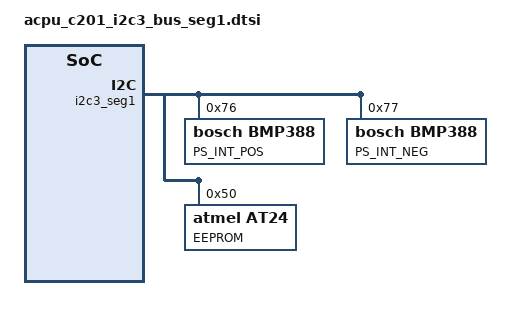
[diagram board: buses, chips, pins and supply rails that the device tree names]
/*
 * Copyright (c) 2021 Acme CPU
 *
 */

&i2c3_seg1 {

  p121_ps: bmp388@76 {
    compatible = "bosch,bmp388";
    reg = <0x76>;
    label = "PS_INT_POS";
    odr = "25";			/* data rate = 25Hz */
    osr-press = <1>;	/* pressure oversampling = No */
    osr-temp = <1>;		/* temperature oversampling = No */
    iir-filter = <0>;	/* iir filter = default val */
  };

  p122_ps: bmp388@77 {
    compatible = "bosch,bmp388";
    reg = <0x77>;
    label = "PS_INT_NEG";
    odr = "25";			/* data rate = 25Hz */
    osr-press = <1>;	/* pressure oversampling = No */
    osr-temp = <1>;		/* temperature oversampling = No */
    iir-filter = <0>;	/* iir filter = default val */
  };
  
	p105_eeprom: 24aa00t@50 {
		compatible = "atmel,at24";
		reg = <0x50>;
		label = "EEPROM";
		size = <128>;
		pagesize = <8>;
		address-width = <8>;
		timeout = <10>;
	};
};
